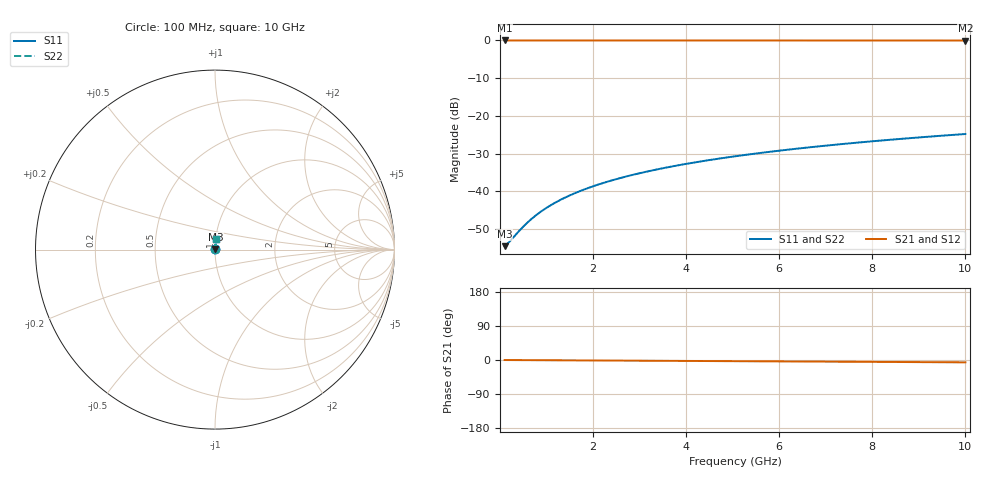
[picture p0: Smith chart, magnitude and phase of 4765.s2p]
# Hz S RI R 50.00
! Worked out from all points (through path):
!   100 points, 100 MHz to 10 GHz, reference 50 ohm
!   highest |S21| = -0.02 dB at 100 MHz (marker M1); lowest = 0.0 dB at 10 GHz (marker M2)
!   lowest |S11| = -54.5 dB at 100 MHz (marker M3), VSWR 1.00, Z = 50.2 + j0.0576 ohm
!   |S11| at or under -10 dB: start of sweep to end of sweep
!   |S22| runs from -54.5 to -24.8 dB; largest |S21 - S12| = 0
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1e8  0.00179 0.000574  0.9982 -0.00107  0.9982 -0.00107  0.00179 0.000574
2e8  0.0018 0.00115  0.9982 -0.00215  0.9982 -0.00215  0.0018 0.00115
4e8  0.00182 0.0023  0.9982 -0.0043  0.9982 -0.0043  0.00182 0.0023
5e8  0.00184 0.00287  0.9982 -0.00537  0.9982 -0.00537  0.00184 0.00287
6e8  0.00185 0.00344  0.9981 -0.00645  0.9981 -0.00645  0.00185 0.00344
7e8  0.00186 0.00402  0.9981 -0.00752  0.9981 -0.00752  0.00186 0.00402
9e8  0.00189 0.00516  0.9981 -0.00967  0.9981 -0.00967  0.00189 0.00516
1.1e9  0.00192 0.00631  0.9981 -0.0118  0.9981 -0.0118  0.00192 0.00631
1.3e9  0.00196 0.00746  0.998 -0.014  0.998 -0.014  0.00196 0.00746
1.5e9  0.002 0.00861  0.998 -0.0161  0.998 -0.0161  0.002 0.00861
1.8e9  0.00207 0.0103  0.9979 -0.0193  0.9979 -0.0193  0.00207 0.0103
2.1e9  0.00214 0.012  0.9978 -0.0226  0.9978 -0.0226  0.00214 0.012
2.5e9  0.00227 0.0143  0.9976 -0.0269  0.9976 -0.0269  0.00227 0.0143
2.9e9  0.00241 0.0166  0.9975 -0.0312  0.9975 -0.0312  0.00241 0.0166
3.4e9  0.00261 0.0195  0.9972 -0.0365  0.9972 -0.0365  0.00261 0.0195
4.2e9  0.003 0.0241  0.9968 -0.0451  0.9968 -0.0451  0.003 0.0241
5.1e9  0.00353 0.0292  0.9961 -0.0548  0.9961 -0.0548  0.00353 0.0292
5.9e9  0.00409 0.0338  0.9954 -0.0633  0.9954 -0.0633  0.00409 0.0338
6.7e9  0.00472 0.0383  0.9947 -0.0719  0.9947 -0.0719  0.00472 0.0383
7.5e9  0.00543 0.0428  0.9938 -0.0805  0.9938 -0.0805  0.00543 0.0428
8.4e9  0.00633 0.0479  0.9927 -0.0901  0.9927 -0.0901  0.00633 0.0479
1e10  0.00816 0.0569  0.9905 -0.1071  0.9905 -0.1071  0.00816 0.0569
